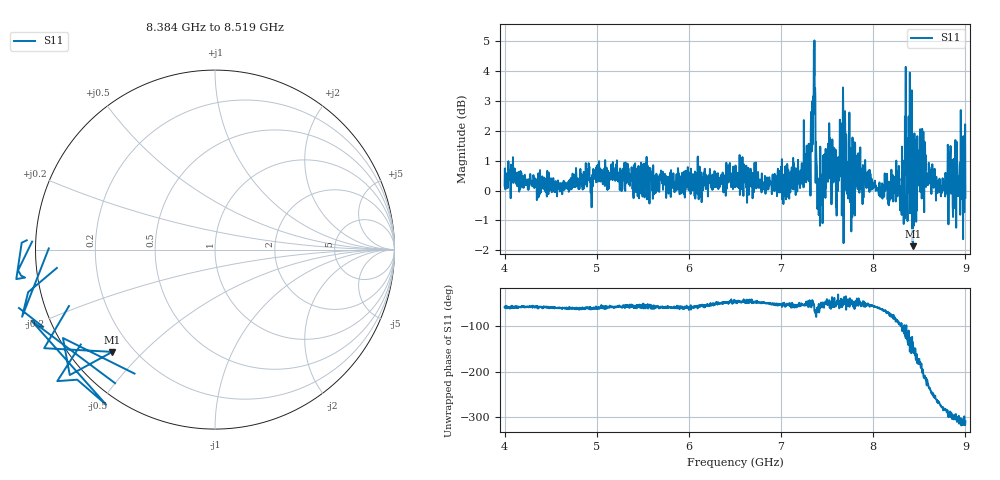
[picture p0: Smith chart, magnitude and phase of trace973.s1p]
! Created with skrf 1.8.0 (http://scikit-rf.org).
# Hz S RI R 50.0
!freq ReS11 ImS11
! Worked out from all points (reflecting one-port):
!   1601 points, 4 GHz to 9 GHz, reference 50 ohm
!   lowest |S11| = -1.9 dB at 8.431 GHz (marker M1), VSWR 9.37, Z = 6.23 - j20.4 ohm
!   phase of S11 starts at -57 deg and turns -251 deg over the sweep
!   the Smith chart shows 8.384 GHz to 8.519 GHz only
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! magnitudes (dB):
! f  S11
! 4 GHz  0.2
! 4.625 GHz  -0.1
! 5.25 GHz  0.0
! 5.875 GHz  0.4
! 6.5 GHz  0.4
! 7.038 GHz  0.0
! 7.125 GHz  0.4
! 7.294 GHz  0.5
! 7.319 GHz  -0.2
! 7.347 GHz  2.9
! 7.369 GHz  3.4
! 7.397 GHz  -0.5
! 7.416 GHz  0.1
! 7.509 GHz  0.3
! 7.609 GHz  0.5
! 7.65 GHz  2.1
! 7.75 GHz  -0.1
! 7.828 GHz  0.6
! 8.097 GHz  0.2
! 8.259 GHz  0.3
! 8.316 GHz  0.2
! 8.338 GHz  -0.4
! 8.375 GHz  1.6
! 8.431 GHz  -1.9
! 8.541 GHz  1.4
! 8.722 GHz  0.1
! 8.972 GHz  0.7
! 9 GHz  -0.2
